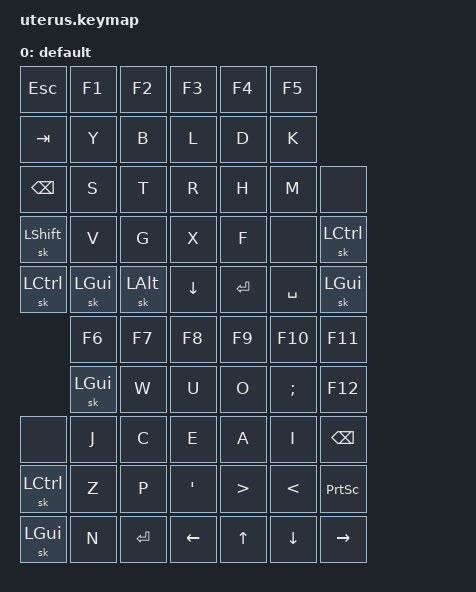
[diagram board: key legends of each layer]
#include <behaviors.dtsi>
#include <dt-bindings/zmk/keys.h>
#include <dt-bindings/zmk/bt.h>
#include <dt-bindings/zmk/outputs.h>

// CONFIG
#define STICKY_TIMEOUT 500

&sk {
    release-after-ms = <STICKY_TIMEOUT>;
    quick-release;
};

/ {
    keymap {
        compatible = "zmk,keymap";

        default {
           bindings = <
            &kp ESC     &kp F1      &kp F2      &kp F3      &kp F4      &kp F5
            &kp TAB     &kp Y       &kp B       &kp L       &kp D       &kp K
            &kp BSPC    &kp S       &kp T       &kp R       &kp H       &kp M       &none       
            &sk LSHIFT  &kp V       &kp G       &kp X       &kp F       &none       &sk LCTRL   
            &sk LCTRL   &sk LGUI    &sk LALT    &kp DOWN    &kp ENTER   &kp SPACE   &sk LGUI

                        &kp F6      &kp F7      &kp F8      &kp F9      &kp F10     &kp F11
                        &sk LGUI    &kp W       &kp U       &kp O       &kp SEMI    &kp F12
            &none       &kp J       &kp C       &kp E       &kp A       &kp I       &kp BSPC
            &sk LCTRL   &kp Z       &kp P       &kp SQT     &kp GT      &kp LT      &kp PSCRN
            &sk LGUI    &kp N       &kp ENTER   &kp LEFT    &kp UP      &kp DOWN    &kp RIGHT
            >;
        };
    };
};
